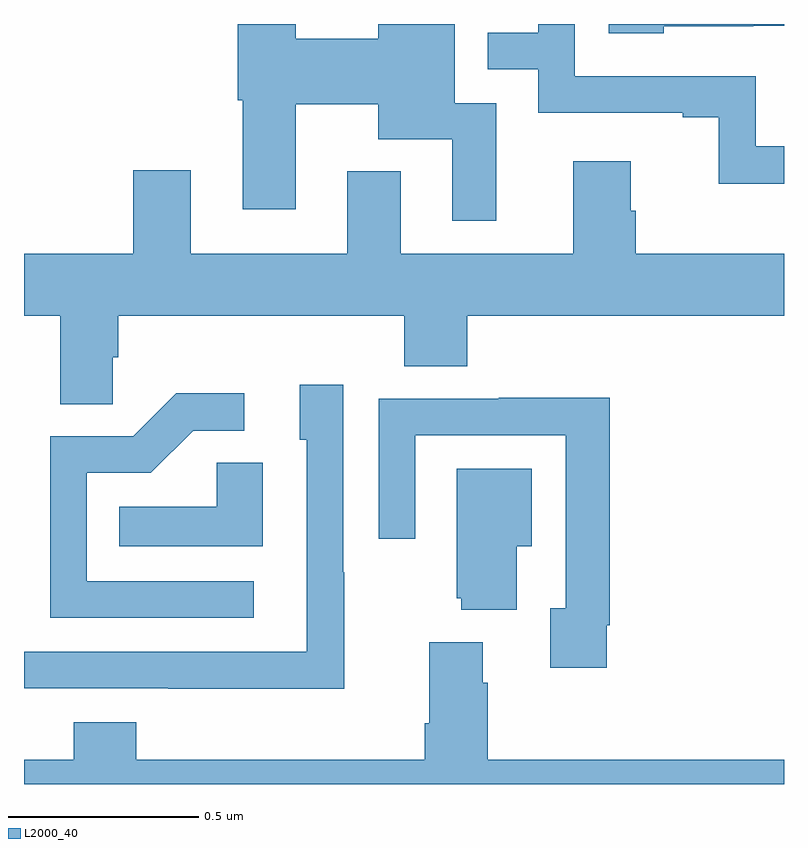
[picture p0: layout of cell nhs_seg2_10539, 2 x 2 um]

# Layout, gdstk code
import gdstk
lib = gdstk.Library(unit=1e-6, precision=1e-09)
def P(c, l, *ps):  # polygons
    for p in ps: c.add(gdstk.Polygon(p, *l))
L2000_40 = (2000, 40)

nhs_seg2_10539 = lib.new_cell('nhs_seg2_10539')
P(nhs_seg2_10539, L2000_40, [(244.243,585.591),(244.134,585.591),(244.134,585.8),(243.932,585.8),(243.932,585.761),(243.715,585.761),(243.715,585.8),(243.563,585.8),(243.563,585.6),(243.575,585.6),(243.575,585.312),(243.715,585.312),(243.715,585.589),(243.932,585.589),(243.932,585.497),(244.127,585.497),(244.127,585.282),(244.243,585.282)],
  [(244.683,585.794),(244.919,585.794),(244.919,585.795),(245,585.795),(245,585.8),(244.539,585.8),(244.539,585.776),(244.683,585.776)],
  [(245,585.478),(244.926,585.478),(244.926,585.663),(244.449,585.663),(244.449,585.8),(244.353,585.8),(244.353,585.777),(244.22,585.777),(244.22,585.681),(244.353,585.681),(244.353,585.567),(244.733,585.567),(244.733,585.555),(244.828,585.555),(244.828,585.38),(245,585.38)],
  [(243.234,584.923),(243.248,584.923),(243.248,585.032),(244.001,585.032),(244.001,584.899),(244.166,584.899),(244.166,585.032),(245,585.032),(245,585.196),(244.61,585.196),(244.61,585.309),(244.597,585.309),(244.597,585.439),(244.445,585.439),(244.445,585.196),(243.991,585.196),(243.991,585.412),(243.851,585.412),(243.851,585.196),(243.439,585.196),(243.439,585.415),(243.287,585.415),(243.287,585.196),(243,585.196),(243,585.032),(243.095,585.032),(243.095,584.8),(243.234,584.8)],
  [(243.843,584.357),(243.84,584.357),(243.84,584.851),(243.725,584.851),(243.725,584.706),(243.744,584.706),(243.744,584.148),(243,584.148),(243,584.052),(243.379,584.052),(243.379,584.051),(243.843,584.051)],
  [(243.604,584.334),(243.165,584.334),(243.165,584.619),(243.334,584.619),(243.445,584.73),(243.58,584.73),(243.58,584.828),(243.401,584.828),(243.288,584.715),(243.069,584.715),(243.069,584.238),(243.604,584.238)],
  [(244.534,584.218),(244.541,584.218),(244.541,584.816),(244.249,584.816),(244.249,584.814),(243.933,584.814),(243.933,584.445),(244.029,584.445),(244.029,584.718),(244.425,584.718),(244.425,584.262),(244.385,584.262),(244.385,584.106),(244.534,584.106)],
  [(243.628,584.645),(243.507,584.645),(243.507,584.53),(243.25,584.53),(243.25,584.426),(243.628,584.426)],
  [(244.297,584.426),(244.336,584.426),(244.336,584.629),(244.139,584.629),(244.139,584.289),(244.151,584.289),(244.151,584.258),(244.297,584.258)],
  [(245,583.864),(244.22,583.864),(244.22,584.066),(244.207,584.066),(244.207,584.173),(244.067,584.173),(244.067,583.96),(244.055,583.96),(244.055,583.864),(243.296,583.864),(243.296,583.963),(243.131,583.963),(243.131,583.864),(243,583.864),(243,583.8),(245,583.8)])

lib.write_gds('nhs_seg2_10539.gds')
